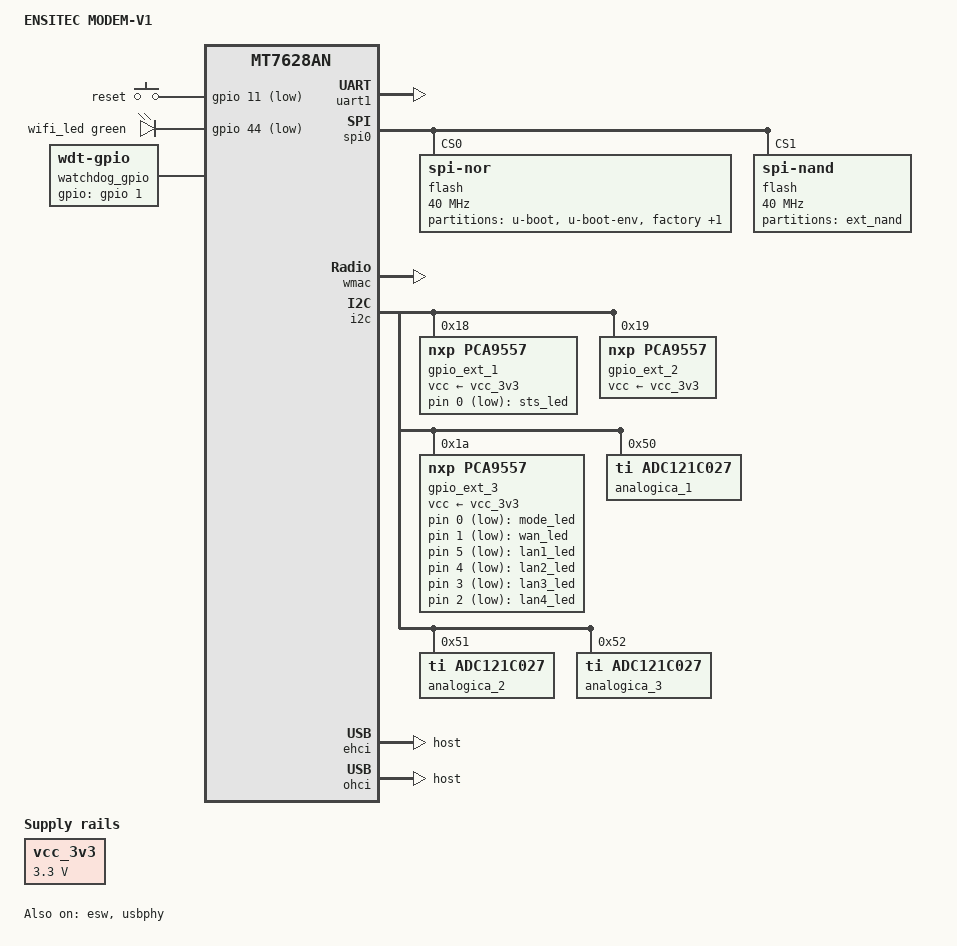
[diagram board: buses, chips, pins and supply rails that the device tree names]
// SPDX-License-Identifier: GPL-2.0-or-later OR MIT

#include "mt7628an.dtsi"

#include <dt-bindings/gpio/gpio.h>
#include <dt-bindings/input/input.h>
#include <dt-bindings/leds/common.h>

/ {
	compatible = "ensitec,v1", "mediatek,mt7628an-soc";
	model = "ENSITEC MODEM-V1";

	keys {
		compatible = "gpio-keys";

		reset {
			label = "reset";
			gpios = <&gpio 11 GPIO_ACTIVE_LOW>;
			linux,code = <KEY_RESTART>;
		};

	};

	leds {
		compatible = "gpio-leds";

		wlan {
			label = "wifi_led";
			function = LED_FUNCTION_WLAN;
			color = <LED_COLOR_ID_GREEN>;
			gpios = <&gpio 44 GPIO_ACTIVE_LOW>;
		};

		led_porta1 {
			label = "sts_led";
			gpios = <&gpio_ext_1 0 GPIO_ACTIVE_LOW>;
		};

		led_porta2 {
			label = "mode_led";
			gpios = <&gpio_ext_3 0 GPIO_ACTIVE_LOW>;
		};

		led_eth0 {
			label = "wan_led";
			gpios = <&gpio_ext_3 1 GPIO_ACTIVE_LOW>;
		};

		led_eth1 {
			label = "lan1_led";
			gpios = <&gpio_ext_3 5 GPIO_ACTIVE_LOW>;
		};

		led_eth2 {
			label = "lan2_led";
			gpios = <&gpio_ext_3 4 GPIO_ACTIVE_LOW>;
		};

		led_eth3 {
			label = "lan3_led";
			gpios = <&gpio_ext_3 3 GPIO_ACTIVE_LOW>;
		};

		led_eth4 {
			label = "lan4_led";
			gpios = <&gpio_ext_3 2 GPIO_ACTIVE_LOW>;
		};
	};

	vcc_3v3: regulator-3v3 {
		compatible = "regulator-fixed";
		regulator-name = "vcc-3v3";
		regulator-min-microvolt = <3300000>;
		regulator-max-microvolt = <3300000>;
		regulator-always-on;
	};

	watchdog_gpio: watchdog-gpio {
		compatible = "linux,wdt-gpio";
		gpios = <&gpio 1 GPIO_ACTIVE_HIGH>;
		hw_algo = "toggle";
		hw_margin_ms = <60000>;
		always-running;
	};

};

&state_default {
	gpio {
		groups = "i2s", "p0led_an", "p1led_an", "p2led_an", "p3led_an", "p4led_an";
		function = "gpio";
	};
};

&uart1 {
	status = "okay";
	//linux,rs485-enabled-at-boot-time;
	//rts-gpios = <&gpio 0 0>;
};

&spi0 {
	status = "okay";
	#address-cells = <1>;
	#size-cells = <0>;
	pinctrl-names = "default";
	pinctrl-0 = <&spi_pins>, <&spi_cs1_pins>;

	flash@0 {
		compatible = "jedec,spi-nor";
		reg = <0>;
		spi-max-frequency = <40000000>;
		broken-flash-reset;

		partitions {
			compatible = "fixed-partitions";
			#address-cells = <1>;
			#size-cells = <1>;

			partition@0 {
				label = "u-boot";
				reg = <0x0 0x30000>;
				read-only;
			};

			partition@30000 {
				label = "u-boot-env";
				reg = <0x30000 0x10000>;
				read-only;
			};

			partition@40000 {
				label = "factory";
				reg = <0x40000 0x10000>;
				read-only;

				nvmem-layout {
					compatible = "fixed-layout";
					#address-cells = <1>;
					#size-cells = <1>;

					eeprom_factory_0: eeprom@0 {
						reg = <0x0 0x400>;
					};

					macaddr_factory_28: macaddr@28 {
						reg = <0x28 0x6>;
					};
				};
			};

			partition@50000 {
				compatible = "denx,uimage";
				label = "firmware";
				reg = <0x50000 0x1fb0000>;
			};
		};
	};

	flash@1 {
		compatible = "spi-nand";
		reg = <1>;
		spi-max-frequency = <40000000>;
		broken-flash-reset;
		partition@0 {
			label = "ext_nand";
			reg = <0x0 0x8000000>;
		};
	};
};

&ethernet {
	nvmem-cells = <&macaddr_factory_28>;
	nvmem-cell-names = "mac-address";
};

&wmac {
	status = "okay";

	nvmem-cells = <&eeprom_factory_0>;
	nvmem-cell-names = "eeprom";
};

&esw {
	status = "okay";
	//mediatek,portmap = <0x47>;
	//mediatek,portdisable = <0x38>;
};

&i2c {
	status = "okay";

	gpio_ext_1: pca9557@18 {
		compatible = "nxp,pca9557";
		reg = <0x18>;
		vcc-supply = <&vcc_3v3>;
		gpio-controller;
		#gpio-cells = <2>;
		gpio-line-names = "p_sts_led", "resetg", "selc", "liga_24v",
				  "pwr_key", "rtsg", "usb_boot", "ctsg";
	};

	gpio_ext_2: pca9557@19 {
		compatible = "nxp,pca9557";
		reg = <0x19>;
		vcc-supply = <&vcc_3v3>;
		gpio-controller;
		#gpio-cells = <2>;
		gpio-line-names = "sd_cd", "gprs_en", "r_ret1", "r_cmd1",
				  "r_cmd2", "r_ret2", "ed_d", "liga_5v";
	};

	gpio_ext_3: pca9557@1A {
		compatible = "nxp,pca9557";
		reg = <0x1A>;
		vcc-supply = <&vcc_3v3>;
		gpio-controller;
		#gpio-cells = <2>;
		gpio-line-names = "p_mode_led", "p_wan_led", "p_lan_led4", "p_lan_led3",
				  "p_lan_led2", "p_lan_led1", "e_ledsel", "term_rs485";
	};

	analogica_1: adc@50 {
		compatible = "ti,adc121c027";
		reg = <0x50>;
	};

	analogica_2: adc@51 {
		compatible = "ti,adc121c027";
		reg = <0x51>;
	};

	analogica_3: adc@52 {
		compatible = "ti,adc121c027";
		reg = <0x52>;
	};
};

&usbphy {
    status = "okay";
};

&ehci {
    status = "okay";
    dr_mode = "host";
};

&ohci {
    status = "okay";
    dr_mode = "host";
};
